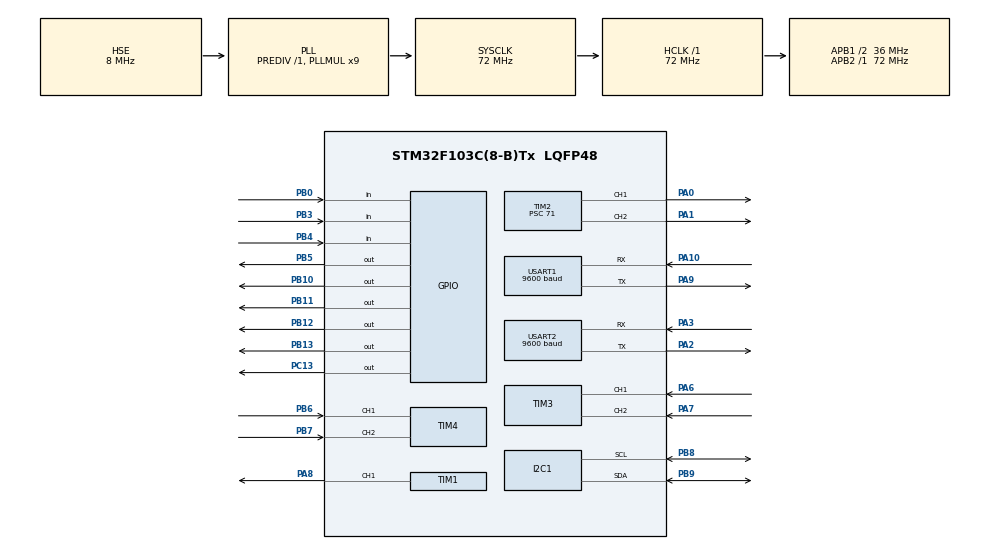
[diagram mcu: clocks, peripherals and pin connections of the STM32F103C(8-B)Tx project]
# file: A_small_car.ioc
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Dma.I2C1_RX.0.Direction=DMA_PERIPH_TO_MEMORY
Dma.I2C1_RX.0.Instance=DMA1_Channel7
Dma.I2C1_RX.0.MemDataAlignment=DMA_MDATAALIGN_BYTE
Dma.I2C1_RX.0.MemInc=DMA_MINC_ENABLE
Dma.I2C1_RX.0.Mode=DMA_NORMAL
Dma.I2C1_RX.0.PeriphDataAlignment=DMA_PDATAALIGN_BYTE
Dma.I2C1_RX.0.PeriphInc=DMA_PINC_DISABLE
Dma.I2C1_RX.0.Priority=DMA_PRIORITY_LOW
Dma.I2C1_TX.1.Direction=DMA_MEMORY_TO_PERIPH
Dma.I2C1_TX.1.Instance=DMA1_Channel6
Dma.I2C1_TX.1.MemDataAlignment=DMA_MDATAALIGN_BYTE
Dma.I2C1_TX.1.MemInc=DMA_MINC_ENABLE
Dma.I2C1_TX.1.Mode=DMA_NORMAL
Dma.I2C1_TX.1.PeriphDataAlignment=DMA_PDATAALIGN_BYTE
Dma.I2C1_TX.1.PeriphInc=DMA_PINC_DISABLE
Dma.I2C1_TX.1.Priority=DMA_PRIORITY_LOW
Dma.Request0=I2C1_RX
Dma.Request1=I2C1_TX
Mcu.Family=STM32F1
Mcu.Name=STM32F103C(8-B)Tx
Mcu.Package=LQFP48
NVIC.DMA1_Channel6_IRQn=true\:0\:0\:false\:false\:true\:false\:true\:true
NVIC.DMA1_Channel7_IRQn=true\:0\:0\:false\:false\:true\:false\:true\:true
NVIC.I2C1_ER_IRQn=true\:0\:0\:false\:false\:true\:true\:true\:true
NVIC.I2C1_EV_IRQn=true\:0\:0\:false\:false\:true\:true\:true\:true
NVIC.PriorityGroup=NVIC_PRIORITYGROUP_4
NVIC.USART2_IRQn=true\:0\:0\:false\:false\:true\:true\:true\:true
PA0-WKUP.Signal=S_TIM2_CH1_ETR
PA1.Signal=S_TIM2_CH2
PA10.Mode=Asynchronous
PA10.Signal=USART1_RX
PA13.Mode=Serial_Wire
PA13.Signal=SYS_JTMS-SWDIO
PA14.Mode=Serial_Wire
PA14.Signal=SYS_JTCK-SWCLK
PA2.Mode=Asynchronous
PA2.Signal=USART2_TX
PA3.Mode=Asynchronous
PA3.Signal=USART2_RX
PA6.Signal=S_TIM3_CH1
PA7.Signal=S_TIM3_CH2
PA8.Signal=S_TIM1_CH1
PA9.Mode=Asynchronous
PA9.Signal=USART1_TX
PB0.GPIO_PuPd=GPIO_PULLUP
PB0.Signal=GPIO_Input
PB10.Signal=GPIO_Output
PB11.Signal=GPIO_Output
PB12.Signal=GPIO_Output
PB13.Signal=GPIO_Output
PB3.GPIO_PuPd=GPIO_PULLUP
PB3.Signal=GPIO_Input
PB4.GPIO_PuPd=GPIO_PULLUP
PB4.Signal=GPIO_Input
PB5.Signal=GPIO_Output
PB6.Signal=S_TIM4_CH1
PB7.Signal=S_TIM4_CH2
PB8.Mode=I2C
PB8.Signal=I2C1_SCL
PB9.Mode=I2C
PB9.Signal=I2C1_SDA
PC13-TAMPER-RTC.PinState=GPIO_PIN_SET
PC13-TAMPER-RTC.Signal=GPIO_Output
PD0-OSC_IN.Mode=HSE-External-Oscillator
PD0-OSC_IN.Signal=RCC_OSC_IN
PD1-OSC_OUT.Mode=HSE-External-Oscillator
PD1-OSC_OUT.Signal=RCC_OSC_OUT
ProjectManager.HeapSize=0x200
ProjectManager.StackSize=0x400
ProjectManager.TargetToolchain=CMake
RCC.ADCPresc=RCC_ADCPCLK2_DIV6
RCC.AHBFreq_Value=72000000
RCC.APB1CLKDivider=RCC_HCLK_DIV2
RCC.APB1Freq_Value=36000000
RCC.APB1TimFreq_Value=72000000
RCC.APB2Freq_Value=72000000
RCC.APB2TimFreq_Value=72000000
RCC.HCLKFreq_Value=72000000
RCC.PLLMUL=RCC_PLL_MUL9
RCC.PLLSourceVirtual=RCC_PLLSOURCE_HSE
RCC.SYSCLKFreq_VALUE=72000000
RCC.SYSCLKSource=RCC_SYSCLKSOURCE_PLLCLK
RCC.USBFreq_Value=72000000
SH.S_TIM1_CH1.0=TIM1_CH1,PWM Generation1 CH1
SH.S_TIM2_CH1_ETR.0=TIM2_CH1,PWM Generation1 CH1
SH.S_TIM2_CH2.0=TIM2_CH2,PWM Generation2 CH2
SH.S_TIM3_CH1.0=TIM3_CH1,Encoder_Interface
SH.S_TIM3_CH2.0=TIM3_CH2,Encoder_Interface
SH.S_TIM4_CH1.0=TIM4_CH1,Encoder_Interface
SH.S_TIM4_CH2.0=TIM4_CH2,Encoder_Interface
TIM1.AutoReloadPreload=TIM_AUTORELOAD_PRELOAD_ENABLE
TIM1.Channel-PWM\ Generation1\ CH1=TIM_CHANNEL_1
TIM1.Period=19999
TIM1.Prescaler=71
TIM1.Pulse-PWM\ Generation1\ CH1=1500
TIM2.Channel-PWM\ Generation1\ CH1=TIM_CHANNEL_1
TIM2.Channel-PWM\ Generation2\ CH2=TIM_CHANNEL_2
TIM2.OCMode_PWM-PWM\ Generation2\ CH2=TIM_OCMODE_PWM1
TIM2.Period=19999
TIM2.Prescaler=71
TIM3.EncoderMode=TIM_ENCODERMODE_TI12
TIM3.IC1Filter=10
TIM3.IC2Filter=10
TIM4.EncoderMode=TIM_ENCODERMODE_TI12
TIM4.IC1Filter=10
TIM4.IC2Filter=10
USART1.BaudRate=9600
USART1.VirtualMode=VM_ASYNC
USART2.BaudRate=9600
USART2.VirtualMode=VM_ASYNC
VP_TIM1_VS_ClockSourceINT.Mode=Internal
VP_TIM2_VS_ClockSourceINT.Mode=Internal
board=custom

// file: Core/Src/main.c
/* USER CODE BEGIN Header */
/**
  ******************************************************************************
  * @file           : main.c
  * @brief          : Main program body
  ******************************************************************************
  * @attention
  *
  * Copyright (c) 2026 STMicroelectronics.
  * All rights reserved.
  *
  * This software is licensed under terms that can be found in the LICENSE file
  * in the root directory of this software component.
  * If no LICENSE file comes with this software, it is provided AS-IS.
  *
  ******************************************************************************
  */
/* USER CODE END Header */
#include "main.h"
#include "dma.h"
#include "i2c.h"
#include "tim.h"
#include "usart.h"
#include "gpio.h"

/* USER CODE BEGIN Includes */
#include "delay.h"
#include "oled.h"
#include "global_parameters.h"
#include "chassis.h"
#include "gyroscope.h"
/* USER CODE END Includes */

/* USER CODE BEGIN PV */
/* USER CODE BEGIN PV */
static uint32_t last_oled_tick = 0;
static uint32_t last_tick = 0;
static uint32_t LED_last_tick = 0;
static uint32_t last_bt_tick = 0;
static uint8_t g_uart2_rx_byte;
static uint8_t g_mpu_init_failed = 0;   // MPU6050 上电初始化失败：降级运行，LED 快闪提示
MPU6050_Data_t mpu_data;
/* USER CODE END PV */

void SystemClock_Config(void);

int main(void)
{

  /* MCU Configuration--------------------------------------------------------*/

  /* Reset of all peripherals, Initializes the Flash interface and the Systick. */
  HAL_Init();

  /* Configure the system clock */
  SystemClock_Config();

  /* USER CODE BEGIN SysInit */
  delay_init();
  /* USER CODE END SysInit */

  /* Initialize all configured peripherals */
  MX_GPIO_Init();
  MX_DMA_Init();
  MX_TIM2_Init();
  MX_USART2_UART_Init();
  MX_TIM4_Init();
  MX_I2C1_Init();
  MX_TIM3_Init();
  MX_TIM1_Init();
  MX_USART1_UART_Init();
  /* USER CODE BEGIN 2 */
  HAL_UART_Receive_IT(&huart2, &g_uart2_rx_byte, 1);

  HAL_TIM_Encoder_Start(&htim4, TIM_CHANNEL_ALL);
  HAL_TIM_Encoder_Start(&htim3, TIM_CHANNEL_ALL);

  HAL_TIM_PWM_Start(&htim1, TIM_CHANNEL_1);
  HAL_TIM_PWM_Start(&htim2, TIM_CHANNEL_1);
  HAL_TIM_PWM_Start(&htim2, TIM_CHANNEL_2);

  car_state_init();
  oled_init();
  oled_clear();
  oled_show_string(0, 0,  "Car status:", 12);
  oled_show_string(0, 12, "Current speed(cm/s):",  12);
  oled_refresh_gram();

  if (MPU6050_Init(&hi2c1) == 1) {
    /* 陀螺仪没接好/坏了时不要在这里死循环：那会把整车一起拖死
       （舵机、超声波、蓝牙、电机全都不动，看起来像"整块板子死了"）。
       这里只报警 + 让 LED 快闪提示，然后以 gyro_valid=0 继续跑：
       没有陀螺仪只是失去航向保持，按角度转向会退化成超时兜底，其它功能照旧。 */
    Bt_Printf("MPU6050 Init Failed! run without gyro\r\n");
    g_mpu_init_failed = 1;
  } else {
    MPU6050_Calibrate();   // 静止标定零偏(约0.2s)：不标定 yaw 会一直漂，车就老是跑偏
  }
  Bt_Printf("Initialization complete\r\n");

  /* 上电就开始循环扫描：这样任何模式下蓝牙里都能看到 L/F/R 距离，
     舵机也会一直按 0→180° 扫描；不启动的话只有 AUTO_ROAM 才会有数据 */
  Ultrasonic_Scan_Start();
  Bt_Printf("Ready\r\n");

  /* USER CODE END 2 */

  /* Infinite loop */
  /* USER CODE BEGIN WHILE */
  while (1)
  {
    Bt_Parse_Commands();

    /* 蓝牙接收自愈：万一哪里出现溢出/帧错误，HAL 会直接把接收中断关掉并结束接收，
       这里发现状态回到 READY 就重新挂上，避免蓝牙突然"什么都收不到" */
    if (huart2.RxState == HAL_UART_STATE_READY) {
      HAL_UART_Receive_IT(&huart2, &g_uart2_rx_byte, 1);
    }
    /* 超声波 USART1 的常驻接收同样需要自愈 */
    Ultrasonic_Rx_Service();

    if (HAL_GetTick() - last_tick >= 10) {
      last_tick = HAL_GetTick();
      Gyro_Update();
      Obstacle_Check();
      Speed_Calculation_ISR();
      PWM_automatic_adjustment();
      Task_Auto_Roam();
      Ultrasonic_Scan_Update();
      Servo_Test_Update();   // 舵机自检(平时是空转，不发命令)
    }

    // 0.5Hz 状态回传
    if (HAL_GetTick() - last_bt_tick >= 2000) {
      last_bt_tick = HAL_GetTick();
      Telemetry_Update();
    }
    // 按键处理：按下 KEY 参数复位
    if (HAL_GPIO_ReadPin(GPIOB, GPIO_PIN_0) == GPIO_PIN_RESET)
    {
      HAL_Delay(5);  // 消抖
      if (HAL_GPIO_ReadPin(GPIOB, GPIO_PIN_0) == GPIO_PIN_RESET)
      {
        car_state_init();
        SET_Action_execution(CAR_STOP);
        __HAL_TIM_SET_COMPARE(&htim2, TIM_CHANNEL_1, 0);
        __HAL_TIM_SET_COMPARE(&htim2, TIM_CHANNEL_2, 0);
        Ultrasonic_Scan_Start();   // 复位把扫描也清了，这里重新拉起来
        /* 等松手，但最多等 1s：按键卡住/接触不良时主循环不能永远停在这里
           （停在这里陀螺仪、OLED、舵机就全都不更新了） */
        {
          uint32_t key_wait = HAL_GetTick();
          while (HAL_GPIO_ReadPin(GPIOB, GPIO_PIN_0) == GPIO_PIN_RESET &&
                 (HAL_GetTick() - key_wait) < 1000) {
          }
        }
      }
    }

    if (HAL_GetTick() - last_oled_tick >= 50)
    {
      last_oled_tick = HAL_GetTick();
      switch (g_car_state.current_mode) {
        case MODE_IDLE:     oled_show_string(52, 0,  "IDLE     ", 12);break;
        case MODE_AVOIDING: oled_show_string(52, 0,  "AVOIDING ", 12);break;
        case MODE_MANUAL:   oled_show_string(52, 0,  "MANUAL   ", 12);break;
        case MODE_AUTO_ROAM:oled_show_string(52, 0,  "AUTO_ROAM", 12);break;
      }
      OLED_ShowSignedNum(0,24,g_car_state.linear_speed_cm_s,5,12);

      oled_refresh_gram();
    }

    /* 心跳：正常 1Hz；MPU6050 初始化失败时改成 5Hz 快闪，便于一眼看出陀螺仪有问题 */
    if (HAL_GetTick() - LED_last_tick >= (g_mpu_init_failed ? 100u : 1000u)) {
      LED_last_tick = HAL_GetTick();
      HAL_GPIO_TogglePin(GPIOC, GPIO_PIN_13);
    }
    /* USER CODE END WHILE */

  }
}

void SystemClock_Config(void)
{
  RCC_OscInitTypeDef RCC_OscInitStruct = {0};
  RCC_ClkInitTypeDef RCC_ClkInitStruct = {0};

  /** Initializes the RCC Oscillators according to the specified parameters
  * in the RCC_OscInitTypeDef structure.
  */
  RCC_OscInitStruct.OscillatorType = RCC_OSCILLATORTYPE_HSE;
  RCC_OscInitStruct.HSEState = RCC_HSE_ON;
  RCC_OscInitStruct.HSEPredivValue = RCC_HSE_PREDIV_DIV1;
  RCC_OscInitStruct.HSIState = RCC_HSI_ON;
  RCC_OscInitStruct.PLL.PLLState = RCC_PLL_ON;
  RCC_OscInitStruct.PLL.PLLSource = RCC_PLLSOURCE_HSE;
  RCC_OscInitStruct.PLL.PLLMUL = RCC_PLL_MUL9;
  if (HAL_RCC_OscConfig(&RCC_OscInitStruct) != HAL_OK)
  {
    Error_Handler();
  }

  /** Initializes the CPU, AHB and APB buses clocks
  */
  RCC_ClkInitStruct.ClockType = RCC_CLOCKTYPE_HCLK|RCC_CLOCKTYPE_SYSCLK
                              |RCC_CLOCKTYPE_PCLK1|RCC_CLOCKTYPE_PCLK2;
  RCC_ClkInitStruct.SYSCLKSource = RCC_SYSCLKSOURCE_PLLCLK;
  RCC_ClkInitStruct.AHBCLKDivider = RCC_SYSCLK_DIV1;
  RCC_ClkInitStruct.APB1CLKDivider = RCC_HCLK_DIV2;
  RCC_ClkInitStruct.APB2CLKDivider = RCC_HCLK_DIV1;

  if (HAL_RCC_ClockConfig(&RCC_ClkInitStruct, FLASH_LATENCY_2) != HAL_OK)
  {
    Error_Handler();
  }
}

/* USER CODE BEGIN 4 */
void HAL_UART_RxCpltCallback(UART_HandleTypeDef *huart) {
  if (huart->Instance == USART2) {
    // 将接收到的数据放入环形缓冲区
    Bt_RingBuf_Put(g_uart2_rx_byte);
    // 再次开启接收中断
    HAL_UART_Receive_IT(&huart2, &g_uart2_rx_byte, 1);
  }
  else if (huart->Instance == USART1) {
    // 超声波模块回包收满 2 字节，交给扫描状态机去解析
    Ultrasonic_Rx_Complete();
  }
}

/* 蓝牙中断发送完成：清掉"正在发送"标志 */
void HAL_UART_TxCpltCallback(UART_HandleTypeDef *huart) {
  if (huart->Instance == USART2) {
    Bt_Tx_Complete_Callback();
  }
}

/* 串口出错回调。注意：出现溢出(ORE)时 HAL 会直接关掉接收中断并结束接收，
   所以这里必须把错误标志清掉（重新挂接收由主循环里的自愈逻辑负责） */
void HAL_UART_ErrorCallback(UART_HandleTypeDef *huart) {
  if (huart->Instance == USART2) {
    __HAL_UART_CLEAR_OREFLAG(&huart2);
  }
  else if (huart->Instance == USART1) {
    __HAL_UART_CLEAR_OREFLAG(&huart1);
    Ultrasonic_Rx_Error();
  }
}
/* USER CODE END 4 */

void Error_Handler(void)
{
  /* USER CODE BEGIN Error_Handler_Debug */
  /* User can add his own implementation to report the HAL error return state */
  __disable_irq();
  HAL_GPIO_WritePin(GPIOC, GPIO_PIN_13, GPIO_PIN_RESET);
  while (1)
  {
  }
  /* USER CODE END Error_Handler_Debug */
}
